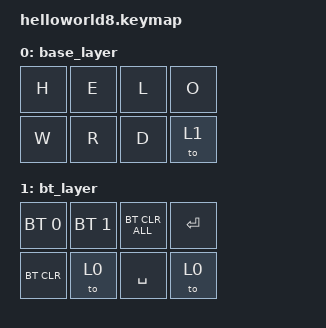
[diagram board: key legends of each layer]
/*
 * Copyright (c) 2021 The ZMK Contributors
 *
 * SPDX-License-Identifier: MIT
 */

#include <behaviors.dtsi>
#include <dt-bindings/zmk/keys.h>
#include <dt-bindings/zmk/bt.h>

/ {

    keymap {
        compatible = "zmk,keymap";

        base_layer {
            bindings = <
                &kp H     &kp E     &kp L     &kp O
                &kp W     &kp R     &kp D     &to 1
            >;
        };

        bt_layer {
            bindings = <
                &bt BT_SEL 0     &bt BT_SEL 1     &bt BT_CLR_ALL     &kp ENTER
                &bt BT_CLR       &to 0        &kp SPACE     &to 0
            >;
        };

    };
};
